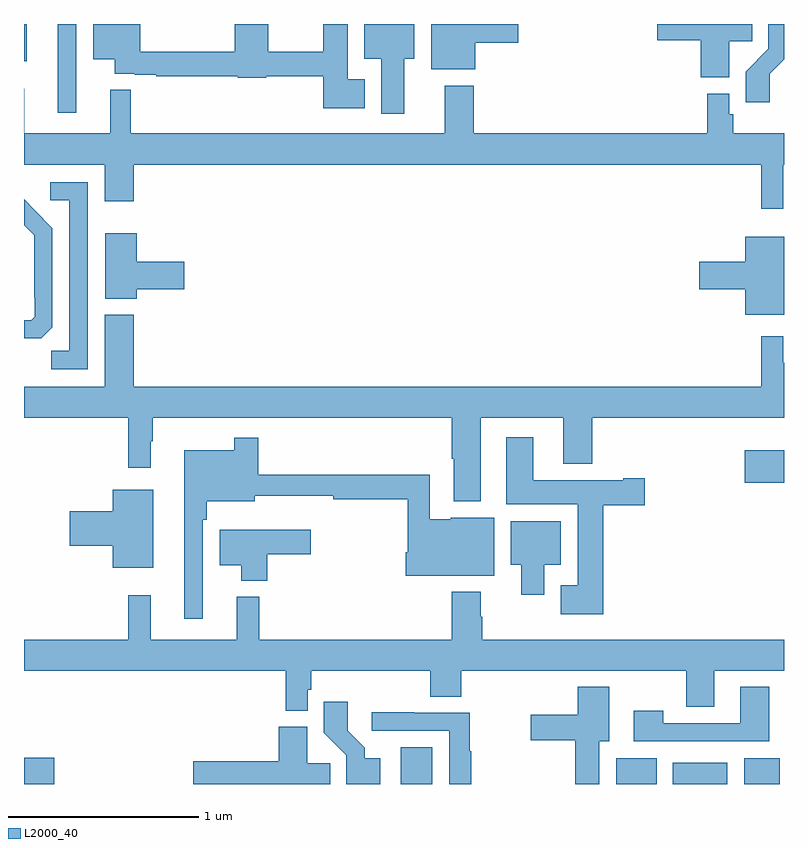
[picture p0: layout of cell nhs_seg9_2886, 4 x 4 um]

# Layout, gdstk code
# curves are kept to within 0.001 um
import gdstk
lib = gdstk.Library(unit=1e-6, precision=1e-09)
def R(c, l, rs):  # rectangles x0, y0, x1, y1
    for r in rs: c.add(gdstk.rectangle(r[:2], r[2:], *l))
def P(c, l, *ps):  # polygons
    for p in ps: c.add(gdstk.Polygon(p, *l))
L2000_40 = (2000, 40)

nhs_seg9_2886 = lib.new_cell('nhs_seg9_2886')
R(nhs_seg9_2886, L2000_40, [(277,1186.5,277.159,1186.638), (278.984,1186.5,279.148,1186.693), (280.118,1186.5,280.33,1186.636), (280.415,1186.5,280.702,1186.612), (280.79,1186.5,280.978,1186.636), (280.794,1188.086,281,1188.256), (277.178,1190.034,277.275,1190.5), (277,1190.303,277.015,1190.5)])
P(nhs_seg9_2886, L2000_40, [(279.376,1190.401),(279.601,1190.401),(279.601,1190.5),(279.143,1190.5),(279.143,1190.261),(279.376,1190.261)],
  [(280.711,1190.41),(280.832,1190.41),(280.832,1190.5),(280.332,1190.5),(280.332,1190.414),(280.562,1190.414),(280.562,1190.219),(280.711,1190.219)],
  [(279.001,1190.318),(279.055,1190.318),(279.055,1190.5),(278.792,1190.5),(278.792,1190.318),(278.879,1190.318),(278.879,1190.028),(279.001,1190.028)],
  [(280.924,1190.239),(281,1190.315),(281,1190.5),(280.917,1190.5),(280.917,1190.369),(280.798,1190.25),(280.798,1190.088),(280.924,1190.088)],
  [(278.794,1190.209),(278.704,1190.209),(278.704,1190.5),(278.575,1190.5),(278.575,1190.354),(278.286,1190.354),(278.286,1190.5),(278.108,1190.5),(278.108,1190.354),(277.613,1190.354),(277.613,1190.5),(277.364,1190.5),(277.364,1190.315),(277.478,1190.315),(277.478,1190.238),(277.582,1190.238),(277.582,1190.232),(277.696,1190.232),(277.696,1190.226),(278.124,1190.226),(278.124,1190.218),(278.274,1190.218),(278.274,1190.226),(278.575,1190.226),(278.575,1190.057),(278.794,1190.057)],
  [(280.997,1189.76),(281,1189.76),(281,1189.924),(280.733,1189.924),(280.733,1190.025),(280.713,1190.025),(280.713,1190.134),(280.597,1190.134),(280.597,1189.924),(279.368,1189.924),(279.368,1190.176),(279.215,1190.176),(279.215,1189.924),(277.562,1189.924),(277.562,1190.153),(277.454,1190.153),(277.454,1189.924),(277.001,1189.924),(277.001,1190.158),(277,1190.158),(277,1189.76),(277.424,1189.76),(277.424,1189.566),(277.577,1189.566),(277.577,1189.76),(280.879,1189.76),(280.879,1189.527),(280.997,1189.527)],
  [(277.335,1189.668),(277.137,1189.668),(277.137,1189.572),(277.239,1189.572),(277.239,1188.779),(277.144,1188.779),(277.144,1188.684),(277.335,1188.684)],
  [(277.149,1188.904),(277.149,1189.426),(277,1189.577),(277,1189.442),(277.053,1189.389),(277.053,1189.06),(277.056,1189.06),(277.056,1188.96),(277.038,1188.942),(277,1188.942),(277,1188.845),(277.09,1188.845)],
  [(277.594,1189.103),(277.843,1189.103),(277.843,1189.25),(277.594,1189.25),(277.594,1189.399),(277.427,1189.399),(277.427,1189.055),(277.594,1189.055)],
  [(281,1189.381),(280.796,1189.381),(280.796,1189.25),(280.554,1189.25),(280.554,1189.103),(280.796,1189.103),(280.796,1188.971),(281,1188.971)],
  [(279.403,1188.428),(279.839,1188.428),(279.839,1188.185),(279.992,1188.185),(279.992,1188.428),(281,1188.428),(281,1188.716),(280.996,1188.716),(280.996,1188.856),(280.879,1188.856),(280.879,1188.592),(277.577,1188.592),(277.577,1188.97),(277.424,1188.97),(277.424,1188.592),(277,1188.592),(277,1188.428),(277.549,1188.428),(277.549,1188.165),(277.666,1188.165),(277.666,1188.305),(277.678,1188.305),(277.678,1188.428),(279.251,1188.428),(279.251,1188.211),(279.263,1188.211),(279.263,1187.987),(279.403,1187.987)],
  [(280.049,1187.966),(280.267,1187.966),(280.267,1188.108),(280.154,1188.108),(280.154,1188.1),(279.679,1188.1),(279.679,1188.325),(279.539,1188.325),(279.539,1187.972),(279.914,1187.972),(279.914,1187.545),(279.824,1187.545),(279.824,1187.393),(280.049,1187.393)],
  [(277.941,1187.891),(277.961,1187.891),(277.961,1187.987),(278.215,1187.987),(278.215,1188.017),(278.627,1188.017),(278.627,1187.998),(279.019,1187.998),(279.019,1187.719),(279.008,1187.719),(279.008,1187.597),(279.475,1187.597),(279.475,1187.902),(279.246,1187.902),(279.246,1187.893),(279.135,1187.893),(279.135,1188.127),(278.234,1188.127),(278.234,1188.322),(278.106,1188.322),(278.106,1188.256),(277.844,1188.256),(277.844,1187.37),(277.941,1187.37)],
  [(277.681,1188.049),(277.466,1188.049),(277.466,1187.936),(277.242,1187.936),(277.242,1187.753),(277.466,1187.753),(277.466,1187.639),(277.681,1187.639)],
  [(279.739,1187.654),(279.826,1187.654),(279.826,1187.884),(279.563,1187.884),(279.563,1187.654),(279.617,1187.654),(279.617,1187.496),(279.739,1187.496)],
  [(278.279,1187.71),(278.509,1187.71),(278.509,1187.839),(278.03,1187.839),(278.03,1187.651),(278.144,1187.651),(278.144,1187.57),(278.279,1187.57)],
  [(278.493,1186.995),(278.513,1186.995),(278.513,1187.096),(279.137,1187.096),(279.137,1186.96),(279.302,1186.96),(279.302,1187.096),(280.486,1187.096),(280.486,1186.906),(280.633,1186.906),(280.633,1187.096),(281,1187.096),(281,1187.26),(279.411,1187.26),(279.411,1187.381),(279.403,1187.381),(279.403,1187.512),(279.251,1187.512),(279.251,1187.26),(278.237,1187.26),(278.237,1187.485),(278.12,1187.485),(278.12,1187.26),(277.667,1187.26),(277.667,1187.494),(277.549,1187.494),(277.549,1187.26),(277,1187.26),(277,1187.096),(278.377,1187.096),(278.377,1186.886),(278.493,1186.886)],
  [(280.027,1186.724),(280.081,1186.724),(280.081,1187.011),(279.914,1187.011),(279.914,1186.864),(279.666,1186.864),(279.666,1186.73),(279.902,1186.73),(279.902,1186.5),(280.027,1186.5)],
  [(280.922,1187.011),(280.769,1187.011),(280.769,1186.821),(280.365,1186.821),(280.365,1186.885),(280.209,1186.885),(280.209,1186.725),(280.922,1186.725)],
  [(278.875,1186.636),(278.794,1186.636),(278.794,1186.691),(278.704,1186.781),(278.704,1186.933),(278.578,1186.933),(278.578,1186.77),(278.697,1186.651),(278.697,1186.5),(278.875,1186.5)],
  [(279.353,1186.672),(279.346,1186.672),(279.346,1186.875),(279.053,1186.875),(279.053,1186.878),(278.829,1186.878),(278.829,1186.779),(279.237,1186.779),(279.237,1186.5),(279.353,1186.5)],
  [(278.612,1186.61),(278.491,1186.61),(278.491,1186.801),(278.342,1186.801),(278.342,1186.62),(277.89,1186.62),(277.89,1186.5),(278.612,1186.5)])

lib.write_gds('nhs_seg9_2886.gds')
